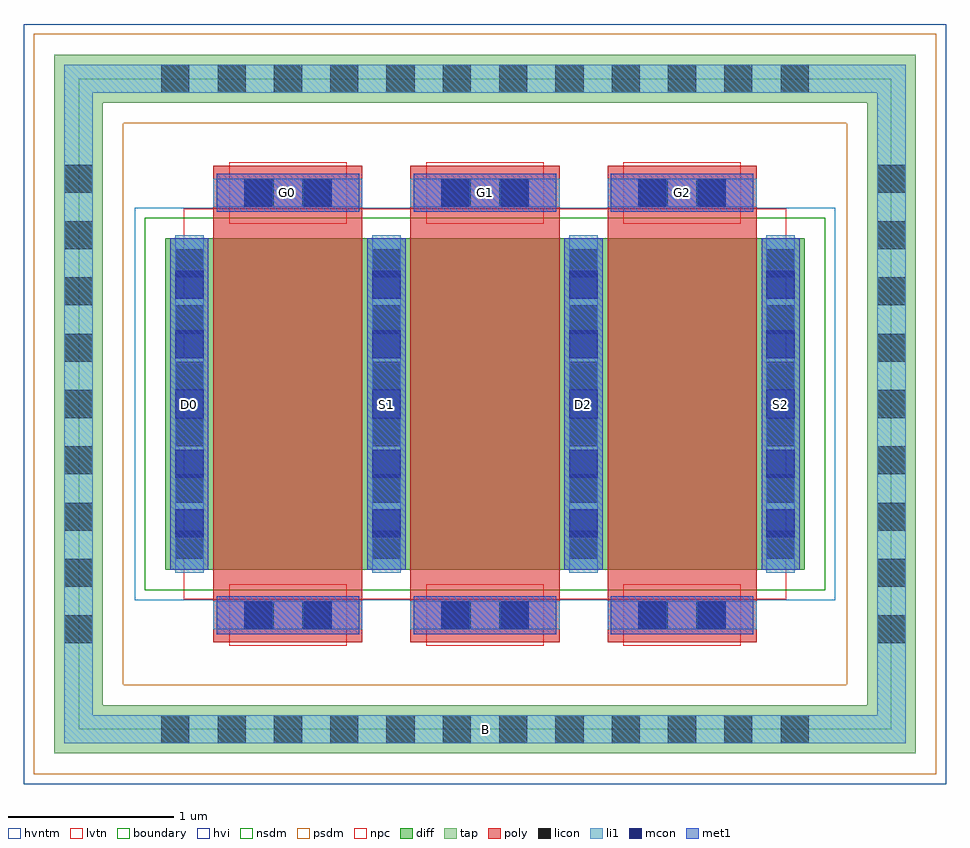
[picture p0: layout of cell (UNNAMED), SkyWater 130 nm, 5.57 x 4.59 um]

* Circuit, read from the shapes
.subckt (UNNAMED) B D0 D2 G0 G1 G2 S1 S2
XM1 S1 G0 D0 B sky130_fd_pr__nfet_05v0_nvt w=2 l=0.9
XM2 D2 G1 S1 B sky130_fd_pr__nfet_05v0_nvt w=2 l=0.9
XM3 S2 G2 D2 B sky130_fd_pr__nfet_05v0_nvt w=2 l=0.9
.ends

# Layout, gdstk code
import gdstk
lib = gdstk.Library(unit=1e-6, precision=1e-09)
def R(c, l, rs):  # rectangles x0, y0, x1, y1
    for r in rs: c.add(gdstk.rectangle(r[:2], r[2:], *l))
def A(c, l, x, y, w, h, nx, ny, dx, dy):  # array of equal rectangles
    R(c, l, [(x+i*dx, y+j*dy, x+i*dx+w, y+j*dy+h) for i in range(nx) for j in range(ny)])
diff = (65, 20)
tap = (65, 44)
poly = (66, 20)
licon = (66, 44)
li1 = (67, 20)
mcon = (67, 44)
met1 = (68, 20)
hvi = (75, 20)
nsdm = (93, 44)
psdm = (94, 20)
npc = (95, 20)
hvntm = (125, 20)
lvtn = (125, 44)
boundary = (235, 4)

c__unnamed_ = lib.new_cell('(UNNAMED)')
R(c__unnamed_, diff, [(-1.93,-1,1.93,1)])
R(c__unnamed_, tap, [(-2.6,-2.11,2.6,-1.82), (-2.6,-1.82,-2.31,1.82), (2.31,-1.82,2.6,1.82), (-2.6,1.82,2.6,2.11)])
A(c__unnamed_, poly, -1.64, -1.44, 0.9, 2.88, 3, 1, 1.19, 0)
A(c__unnamed_, licon, -1.955, -2.05, 0.17, 0.17, 12, 2, 0.34, 3.93)
A(c__unnamed_, licon, -2.54, -1.445, 0.17, 0.17, 1, 9, 0, 0.34)
A(c__unnamed_, licon, 2.37, -1.445, 0.17, 0.17, 1, 9, 0, 0.34)
A(c__unnamed_, licon, -1.87, -0.935, 0.17, 0.17, 4, 6, 1.19, 0.34)
R(c__unnamed_, licon, [(-1.445,-1.36,-1.275,-1.19), (-1.105,-1.36,-0.935,-1.19), (-0.255,-1.36,-0.085,-1.19), (0.085,-1.36,0.255,-1.19), (0.935,-1.36,1.105,-1.19), (1.275,-1.36,1.445,-1.19), (-1.445,1.19,-1.275,1.36), (-1.105,1.19,-0.935,1.36), (-0.255,1.19,-0.085,1.36), (0.085,1.19,0.255,1.36), (0.935,1.19,1.105,1.36), (1.275,1.19,1.445,1.36)])
A(c__unnamed_, li1, -1.64, -1.36, 0.9, 0.17, 3, 2, 1.19, 2.55)
A(c__unnamed_, li1, -1.87, -1.02, 0.17, 2.04, 4, 1, 1.19, 0)
R(c__unnamed_, li1, [(-2.54,-2.05,2.54,-1.88), (-2.54,-1.88,-2.37,1.88), (2.37,-1.88,2.54,1.88), (-2.54,1.88,2.54,2.05)])
A(c__unnamed_, mcon, -1.87, -0.805, 0.17, 0.17, 4, 5, 1.19, 0.36)
R(c__unnamed_, mcon, [(-1.455,-1.36,-1.285,-1.19), (-1.095,-1.36,-0.925,-1.19), (-0.265,-1.36,-0.095,-1.19), (0.095,-1.36,0.265,-1.19), (0.925,-1.36,1.095,-1.19), (1.285,-1.36,1.455,-1.19), (-1.455,1.19,-1.285,1.36), (-1.095,1.19,-0.925,1.36), (-0.265,1.19,-0.095,1.36), (0.095,1.19,0.265,1.36), (0.925,1.19,1.095,1.36), (1.285,1.19,1.455,1.36)])
A(c__unnamed_, met1, -1.62, -1.39, 0.86, 0.23, 3, 2, 1.19, 2.55)
A(c__unnamed_, met1, -1.9, -1, 0.23, 2, 4, 1, 1.19, 0)
R(c__unnamed_, hvi, [(-2.785,-2.295,2.785,2.295)])
R(c__unnamed_, nsdm, [(-2.055,-1.125,2.055,1.125)])
R(c__unnamed_, psdm, [(-2.725,-2.235,2.725,-1.695), (-2.725,-1.695,-2.185,1.695), (2.185,-1.695,2.725,1.695), (-2.725,1.695,2.725,2.235)])
A(c__unnamed_, npc, -1.545, -1.46, 0.71, 0.37, 3, 2, 1.19, 2.55)
R(c__unnamed_, hvntm, [(-2.115,-1.185,2.115,1.185)])
R(c__unnamed_, lvtn, [(-1.82,-1.18,1.82,1.18)])
R(c__unnamed_, boundary, [(-2.455,-1.965,2.455,1.965)])
c__unnamed_.add(gdstk.Label('B', (0,-1.965), layer=67, texttype=5))
c__unnamed_.add(gdstk.Label('D0', (-1.785,0), layer=67, texttype=5))
c__unnamed_.add(gdstk.Label('G0', (-1.19,1.275), layer=67, texttype=5))
c__unnamed_.add(gdstk.Label('S1', (-0.595,0), layer=67, texttype=5))
c__unnamed_.add(gdstk.Label('G1', (0,1.275), layer=67, texttype=5))
c__unnamed_.add(gdstk.Label('D2', (0.595,0), layer=67, texttype=5))
c__unnamed_.add(gdstk.Label('S2', (1.785,0), layer=67, texttype=5))
c__unnamed_.add(gdstk.Label('G2', (1.19,1.275), layer=67, texttype=5))

lib.write_gds('_UNNAMED_.gds')
